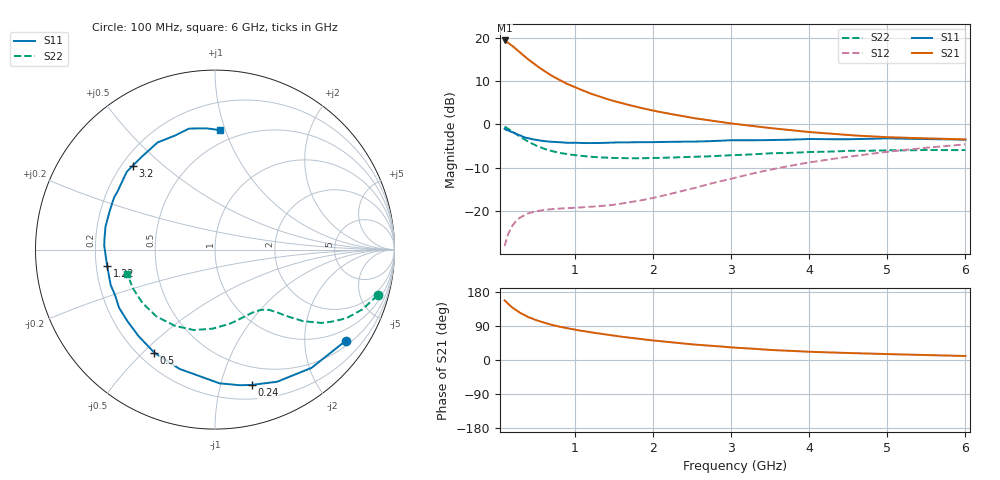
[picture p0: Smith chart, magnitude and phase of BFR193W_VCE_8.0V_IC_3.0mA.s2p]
! Infineon Technologies  Discrete & RF Semiconductors
! BFR193W
! VCE =  8.0 V,  IC =  3.0 mA
! Common Emitter S-Parameters:  Nov 2015
# GHz  S  MA  R  50
!  f  S11  S21  S12  S22
! GHz  MAG  ANG  MAG  ANG  MAG  ANG  MAG  ANG
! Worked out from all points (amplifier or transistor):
!   192 points, 100 MHz to 6 GHz, reference 50 ohm
!   highest |S21| = 19.3 dB at 100 MHz (marker M1)
!   |S21| within 3 dB of that: start of sweep to 313 MHz
!   unconditionally stable (mu >= 1): 1.379 GHz to 2.625 GHz
!   at 440 MHz: K = 0.37, MSG = 17.4 dB, |S12| = -20.3 dB
!   at 1.7 GHz: K = 1.08, MAG = 9.5 dB, |S12| = -18.0 dB
!   at 6 GHz: K = 0.92, MSG = 0.6 dB, |S12| = -4.6 dB
!   S11 on the Smith chart (normalised r, x): 100 MHz: 0.64, -3.06; 240 MHz: 0.32, -1.26; 500 MHz: 0.26, -0.54; 1.22 GHz: 0.25, -0.07; 3.2 GHz: 0.24, +0.40; 6 GHz: 0.40, +0.96
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0.1  0.8878 -34.9  9.263 157.3  0.0394 71.1  0.9406 -15.7
0.15  0.8506 -50.8  8.661 147.0  0.0556 63.3  0.8862 -22.1
0.2  0.8136 -64.8  8.015 138.2  0.0678 57.1  0.8275 -27.4
0.24  0.7812 -74.8  7.467 132.3  0.0757 52.5  0.7796 -30.6
0.3  0.7454 -88.1  6.709 124.2  0.0845 47.2  0.7178 -34.7
0.4  0.6935 -106.5  5.63 113.4  0.094 41.1  0.6313 -39.1
0.5  0.6664 -120.5  4.799 105.4  0.0994 37.4  0.5696 -41.7
0.6  0.643 -131.7  4.159 98.7  0.1032 35.4  0.5242 -43.8
0.7  0.6298 -141.0  3.64 92.9  0.1053 34.5  0.4931 -45.2
0.8  0.6251 -148.8  3.252 88.0  0.1067 34.4  0.4701 -46.8
0.9  0.6122 -155.3  2.926 83.8  0.1081 34.9  0.4528 -47.9
1.1  0.6089 -165.9  2.464 76.7  0.1105 37.4  0.4317 -51.0
1.22  0.608 -171.4  2.232 72.5  0.1123 39.3  0.4215 -53.0
1.4  0.6123 -178.7  1.967 67.0  0.1157 43.0  0.4124 -56.2
1.6  0.6188 174.4  1.752 61.3  0.122 47.6  0.4078 -59.9
2.08  0.6244 160.1  1.395 50.0  0.1471 58.0  0.4103 -70.2
2.5  0.6318 149.8  1.187 41.3  0.1814 63.8  0.422 -79.5
3.1  0.6547 136.5  0.999 32.1  0.2483 65.9  0.4433 -94.4
3.2  0.6545 134.5  0.975 30.8  0.2611 65.5  0.447 -97.1
4.1  0.6754 116.4  0.802 21.1  0.3754 59.3  0.4807 -120.5
5.1  0.6861 100.5  0.706 15.1  0.493 48.8  0.5012 -146.0
6  0.666 87.4  0.67 10.6  0.5874 37.9  0.5055 -164.7
